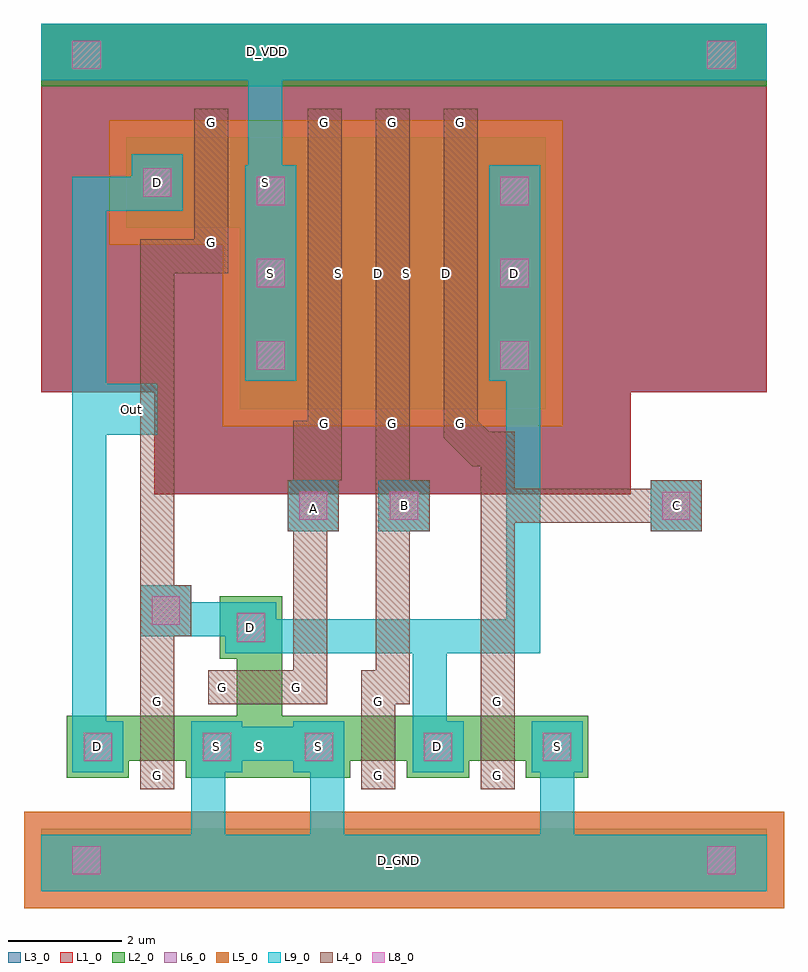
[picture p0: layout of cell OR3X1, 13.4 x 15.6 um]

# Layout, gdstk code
import gdstk
lib = gdstk.Library(unit=1e-6, precision=1e-09)
def R(c, l, rs):  # rectangles x0, y0, x1, y1
    for r in rs: c.add(gdstk.rectangle(r[:2], r[2:], *l))
def A(c, l, x, y, w, h, nx, ny, dx, dy):  # array of equal rectangles
    R(c, l, [(x+i*dx, y+j*dy, x+i*dx+w, y+j*dy+h) for i in range(nx) for j in range(ny)])
def P(c, l, *ps):  # polygons
    for p in ps: c.add(gdstk.Polygon(p, *l))
L1_0 = (1, 0)
L2_0 = (2, 0)
L3_0 = (3, 0)
L4_0 = (4, 0)
L5_0 = (5, 0)
L6_0 = (6, 0)
L8_0 = (8, 0)
L9_0 = (9, 0)

or3x1 = lib.new_cell('OR3X1')
A(or3x1, L1_0, 2, 7, 6, 7.8, 3, 1, 1.2, 0)
R(or3x1, L1_0, [(0,8.8,1.6,15.3), (0,8.8,12.8,15.3), (11.2,8.8,12.8,15.3), (0,10.2,6,14.8)])
A(or3x1, L2_0, 0, 0, 1.6, 1.1, 8, 2, 1.6, 14.2)
A(or3x1, L2_0, 4.6, 8.5, 0.8, 4.8, 3, 1, 1.2, 0)
R(or3x1, L2_0, [(0.45,2,1.55,3.1), (2.55,2,3.65,3.1), (3.45,2,4.25,3.1), (3.65,2,5.45,3.1), (4.35,2,5.45,3.1), (6.45,2,7.55,3.1), (6.45,2,7.55,3.1), (8.55,2,9.65,3.1), (1.55,2.3,2.55,3.1), (5.45,2.3,6.45,3.1), (7.55,2.3,8.55,3.1), (3.45,3.1,4.25,4.1), (3.15,4.1,4.25,5.2), (3.5,8.5,4.6,13.3), (4.7,8.5,5.8,13.3), (5.4,8.5,6.5,13.3), (5.9,8.5,7,13.3), (6.6,8.5,7.7,13.3), (7.8,8.5,8.9,13.3), (1.5,11.7,2.6,13.3), (2.6,11.7,3.4,13.3), (3.4,11.7,4.5,13.3)])
A(or3x1, L3_0, 2, 7, 6, 7.8, 3, 1, 1.2, 0)
R(or3x1, L3_0, [(0,8.8,1.6,15.3), (0,8.8,12.8,15.3), (11.2,8.8,12.8,15.3), (0,10.2,6,14.8)])
A(or3x1, L4_0, 4.7, 8, 0.6, 5.8, 3, 1, 1.2, 0)
A(or3x1, L4_0, 4.7, 8, 0.6, 0.5, 3, 2, 1.2, 5.3)
R(or3x1, L4_0, [(1.75,1.8,2.35,2.3), (1.75,1.8,2.35,3.6), (5.65,1.8,6.25,2.3), (5.65,1.8,6.25,3.6), (7.75,1.8,8.35,2.3), (7.75,1.8,8.35,3.6), (1.75,3.1,2.35,3.6), (5.65,3.1,6.25,3.6), (7.75,3.1,8.35,3.6), (2.95,3.3,4.75,3.9), (2.95,3.3,3.45,3.9), (4.25,3.3,4.75,3.9), (1.75,4.5,2.65,5.4), (4.35,6.35,5.25,7.25), (5.95,6.35,6.85,7.25), (10.75,6.35,11.65,7.25), (7.75,6.5,11.5,7.1), (4.7,7.25,5.3,8.3), (2.7,11.2,3.3,11.7), (2.7,11.2,3.3,13.8), (2.7,13.3,3.3,13.8)])
P(or3x1, L4_0, [(1.75,1.8),(2.35,1.8),(2.35,10.9),(3.3,10.9),(3.3,11.5),(1.75,11.5)],
  [(4.45,3.3),(5.05,3.3),(5.05,7.7),(5.3,7.7),(5.3,8.3),(4.45,8.3)],
  [(5.65,1.8),(6.25,1.8),(6.25,3.3),(6.5,3.3),(6.5,13.8),(5.9,13.8),(5.9,3.9),(5.65,3.9)],
  [(7.1,8),(7.6,7.5),(7.75,7.5),(7.75,1.8),(8.35,1.8),(8.35,8.1),(7.9,8.1),(7.7,8.3),(7.7,13.8),(7.1,13.8)],
  [(7.1,8),(7.6,7.5),(8.05,7.5),(8.05,8.1),(7.9,8.1),(7.7,8.3),(7.7,8.65),(7.1,8.65)])
A(or3x1, L5_0, 1.6, -0.3, 1.6, 1.7, 6, 1, 1.6, 0)
A(or3x1, L5_0, 3.2, 8.2, 3.6, 5.4, 3, 1, 1.2, 0)
R(or3x1, L5_0, [(-0.3,-0.3,1.6,1.4), (11.2,-0.3,13.1,1.4), (1.2,11.4,4.8,13.6)])
A(or3x1, L6_0, 1.6, -0.3, 1.6, 1.7, 6, 1, 1.6, 0)
A(or3x1, L6_0, 3.2, 8.2, 3.6, 5.4, 3, 1, 1.2, 0)
R(or3x1, L6_0, [(-0.3,-0.3,1.6,1.4), (11.2,-0.3,13.1,1.4), (1.2,11.4,4.8,13.6)])
A(or3x1, L8_0, 3.8, 9.2, 0.5, 0.5, 1, 3, 0, 1.45)
A(or3x1, L8_0, 8.1, 9.2, 0.5, 0.5, 1, 3, 0, 1.45)
R(or3x1, L8_0, [(0.55,0.3,1.05,0.8), (11.75,0.3,12.25,0.8), (0.75,2.3,1.25,2.8), (2.85,2.3,3.35,2.8), (4.65,2.3,5.15,2.8), (6.75,2.3,7.25,2.8), (6.75,2.3,7.25,2.8), (8.85,2.3,9.35,2.8), (3.45,4.4,3.95,4.9), (1.95,4.7,2.45,5.2), (4.55,6.55,5.05,7.05), (6.15,6.55,6.65,7.05), (10.95,6.55,11.45,7.05), (1.8,12.25,2.3,12.75), (0.55,14.5,1.05,15), (11.75,14.5,12.25,15)])
A(or3x1, L9_0, 0, 0, 1.6, 1, 8, 2, 1.6, 14.3)
R(or3x1, L9_0, [(2.65,0.05,3.25,3), (8.8,0.05,9.4,3), (4.75,0.15,5.35,3), (0.15,0.25,12.45,0.85), (6,0.25,6.6,0.85), (0.55,2.1,1.45,3), (2.65,2.1,3.55,3), (4.45,2.1,5.35,3), (6.55,2.1,7.45,3), (6.55,2.1,7.45,3), (6.55,2.1,7.15,4.8), (8.65,2.1,9.55,3), (2.95,2.3,5.35,2.9), (3.25,4.2,4.15,5.1), (1.75,4.5,2.65,5.4), (1.75,4.5,4.15,5.1), (4.35,6.35,5.25,7.25), (5.95,6.35,6.85,7.25), (10.75,6.35,11.65,7.25), (4.5,6.45,5.1,7.05), (6.1,6.5,6.7,7.1), (10.9,6.5,11.5,7.1), (1.15,8.05,2.05,8.95), (1.3,8.2,1.9,8.8), (3.6,9,4.5,12.8), (7.9,9,8.8,12.8), (3.65,9.35,4.25,14.8), (1.6,12,2.5,13), (0,14.5,12.65,15.1), (3.7,14.5,4.3,15.1)])
P(or3x1, L9_0, [(0.55,2.1),(1.15,2.1),(1.15,12),(2.5,12),(2.5,12.6),(0.55,12.6)],
  [(3.25,4.2),(8.8,4.2),(8.8,12.8),(8.2,12.8),(8.2,4.8),(3.25,4.8)])
or3x1.add(gdstk.Label('G', (5,8.252), layer=4, texttype=0))
or3x1.add(gdstk.Label('G', (5,13.552), layer=4, texttype=0))
or3x1.add(gdstk.Label('S', (4.049,10.901), layer=9, texttype=0))
or3x1.add(gdstk.Label('D', (5.949,10.901), layer=2, texttype=0))
or3x1.add(gdstk.Label('G', (6.2,8.252), layer=4, texttype=0))
or3x1.add(gdstk.Label('G', (6.2,13.552), layer=4, texttype=0))
or3x1.add(gdstk.Label('S', (5.249,10.901), layer=2, texttype=0))
or3x1.add(gdstk.Label('D', (7.149,10.901), layer=2, texttype=0))
or3x1.add(gdstk.Label('G', (7.4,8.252), layer=4, texttype=0))
or3x1.add(gdstk.Label('G', (7.4,13.552), layer=4, texttype=0))
or3x1.add(gdstk.Label('S', (6.449,10.901), layer=2, texttype=0))
or3x1.add(gdstk.Label('D', (8.349,10.901), layer=9, texttype=0))
or3x1.add(gdstk.Label('G', (3,13.548), layer=4, texttype=0))
or3x1.add(gdstk.Label('G', (3,11.448), layer=4, texttype=0))
or3x1.add(gdstk.Label('S', (3.951,12.499), layer=2, texttype=0))
or3x1.add(gdstk.Label('D', (2.051,12.499), layer=9, texttype=0))
or3x1.add(gdstk.Label('G', (4.498,3.6), layer=4, texttype=0))
or3x1.add(gdstk.Label('G', (3.198,3.6), layer=4, texttype=0))
or3x1.add(gdstk.Label('S', (3.849,2.549), layer=2, texttype=0))
or3x1.add(gdstk.Label('D', (3.699,4.649), layer=9, texttype=0))
or3x1.add(gdstk.Label('G', (5.95,3.348), layer=4, texttype=0))
or3x1.add(gdstk.Label('G', (5.95,2.048), layer=4, texttype=0))
or3x1.add(gdstk.Label('S', (4.899,2.549), layer=9, texttype=0))
or3x1.add(gdstk.Label('D', (6.999,2.549), layer=9, texttype=0))
or3x1.add(gdstk.Label('G', (8.05,3.348), layer=4, texttype=0))
or3x1.add(gdstk.Label('G', (8.05,2.048), layer=4, texttype=0))
or3x1.add(gdstk.Label('S', (9.101,2.549), layer=9, texttype=0))
or3x1.add(gdstk.Label('D', (7.001,2.549), layer=9, texttype=0))
or3x1.add(gdstk.Label('G', (2.05,3.348), layer=4, texttype=0))
or3x1.add(gdstk.Label('G', (2.05,2.048), layer=4, texttype=0))
or3x1.add(gdstk.Label('S', (3.101,2.549), layer=9, texttype=0))
or3x1.add(gdstk.Label('D', (1.001,2.549), layer=9, texttype=0))
or3x1.add(gdstk.Label('A', (4.8,6.75), layer=50, texttype=0))
or3x1.add(gdstk.Label('B', (6.4,6.8), layer=50, texttype=0))
or3x1.add(gdstk.Label('C', (11.2,6.8), layer=50, texttype=0))
or3x1.add(gdstk.Label('D_GND', (6.3,0.55), layer=50, texttype=0))
or3x1.add(gdstk.Label('D_VDD', (4,14.8), layer=50, texttype=0))
or3x1.add(gdstk.Label('Out', (1.6,8.5), layer=50, texttype=0))

lib.write_gds('OR3X1.gds')
